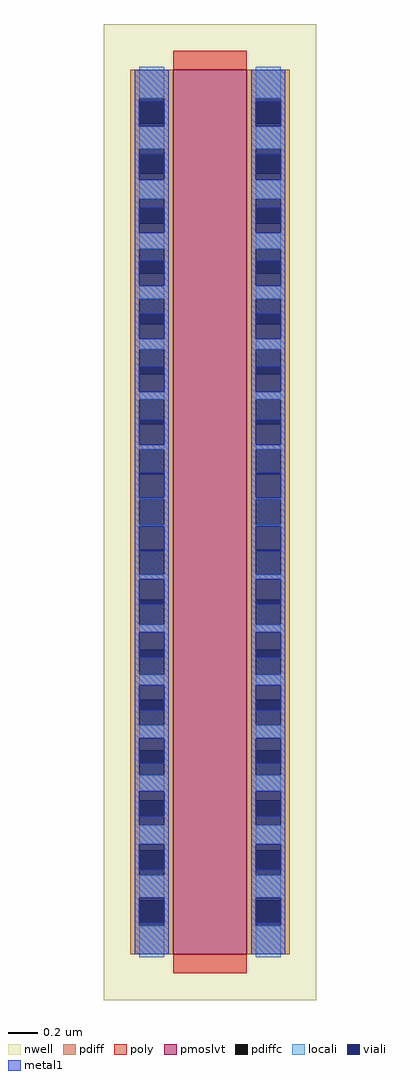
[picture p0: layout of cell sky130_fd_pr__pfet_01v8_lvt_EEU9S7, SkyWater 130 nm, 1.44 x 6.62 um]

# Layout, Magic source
magic
tech sky130A
magscale 1 2
<< nwell >>
rect -144 -662 144 662
<< pmoslvt >>
rect -50 -600 50 600
<< pdiff >>
rect -108 561 -50 600
rect -108 527 -96 561
rect -62 527 -50 561
rect -108 493 -50 527
rect -108 459 -96 493
rect -62 459 -50 493
rect -108 425 -50 459
rect -108 391 -96 425
rect -62 391 -50 425
rect -108 357 -50 391
rect -108 323 -96 357
rect -62 323 -50 357
rect -108 289 -50 323
rect -108 255 -96 289
rect -62 255 -50 289
rect -108 221 -50 255
rect -108 187 -96 221
rect -62 187 -50 221
rect -108 153 -50 187
rect -108 119 -96 153
rect -62 119 -50 153
rect -108 85 -50 119
rect -108 51 -96 85
rect -62 51 -50 85
rect -108 17 -50 51
rect -108 -17 -96 17
rect -62 -17 -50 17
rect -108 -51 -50 -17
rect -108 -85 -96 -51
rect -62 -85 -50 -51
rect -108 -119 -50 -85
rect -108 -153 -96 -119
rect -62 -153 -50 -119
rect -108 -187 -50 -153
rect -108 -221 -96 -187
rect -62 -221 -50 -187
rect -108 -255 -50 -221
rect -108 -289 -96 -255
rect -62 -289 -50 -255
rect -108 -323 -50 -289
rect -108 -357 -96 -323
rect -62 -357 -50 -323
rect -108 -391 -50 -357
rect -108 -425 -96 -391
rect -62 -425 -50 -391
rect -108 -459 -50 -425
rect -108 -493 -96 -459
rect -62 -493 -50 -459
rect -108 -527 -50 -493
rect -108 -561 -96 -527
rect -62 -561 -50 -527
rect -108 -600 -50 -561
rect 50 561 108 600
rect 50 527 62 561
rect 96 527 108 561
rect 50 493 108 527
rect 50 459 62 493
rect 96 459 108 493
rect 50 425 108 459
rect 50 391 62 425
rect 96 391 108 425
rect 50 357 108 391
rect 50 323 62 357
rect 96 323 108 357
rect 50 289 108 323
rect 50 255 62 289
rect 96 255 108 289
rect 50 221 108 255
rect 50 187 62 221
rect 96 187 108 221
rect 50 153 108 187
rect 50 119 62 153
rect 96 119 108 153
rect 50 85 108 119
rect 50 51 62 85
rect 96 51 108 85
rect 50 17 108 51
rect 50 -17 62 17
rect 96 -17 108 17
rect 50 -51 108 -17
rect 50 -85 62 -51
rect 96 -85 108 -51
rect 50 -119 108 -85
rect 50 -153 62 -119
rect 96 -153 108 -119
rect 50 -187 108 -153
rect 50 -221 62 -187
rect 96 -221 108 -187
rect 50 -255 108 -221
rect 50 -289 62 -255
rect 96 -289 108 -255
rect 50 -323 108 -289
rect 50 -357 62 -323
rect 96 -357 108 -323
rect 50 -391 108 -357
rect 50 -425 62 -391
rect 96 -425 108 -391
rect 50 -459 108 -425
rect 50 -493 62 -459
rect 96 -493 108 -459
rect 50 -527 108 -493
rect 50 -561 62 -527
rect 96 -561 108 -527
rect 50 -600 108 -561
<< pdiffc >>
rect -96 527 -62 561
rect -96 459 -62 493
rect -96 391 -62 425
rect -96 323 -62 357
rect -96 255 -62 289
rect -96 187 -62 221
rect -96 119 -62 153
rect -96 51 -62 85
rect -96 -17 -62 17
rect -96 -85 -62 -51
rect -96 -153 -62 -119
rect -96 -221 -62 -187
rect -96 -289 -62 -255
rect -96 -357 -62 -323
rect -96 -425 -62 -391
rect -96 -493 -62 -459
rect -96 -561 -62 -527
rect 62 527 96 561
rect 62 459 96 493
rect 62 391 96 425
rect 62 323 96 357
rect 62 255 96 289
rect 62 187 96 221
rect 62 119 96 153
rect 62 51 96 85
rect 62 -17 96 17
rect 62 -85 96 -51
rect 62 -153 96 -119
rect 62 -221 96 -187
rect 62 -289 96 -255
rect 62 -357 96 -323
rect 62 -425 96 -391
rect 62 -493 96 -459
rect 62 -561 96 -527
<< poly >>
rect -50 600 50 626
rect -50 -626 50 -600
<< locali >>
rect -96 561 -62 604
rect -96 493 -62 523
rect -96 425 -62 451
rect -96 357 -62 379
rect -96 289 -62 307
rect -96 221 -62 235
rect -96 153 -62 163
rect -96 85 -62 91
rect -96 17 -62 19
rect -96 -19 -62 -17
rect -96 -91 -62 -85
rect -96 -163 -62 -153
rect -96 -235 -62 -221
rect -96 -307 -62 -289
rect -96 -379 -62 -357
rect -96 -451 -62 -425
rect -96 -523 -62 -493
rect -96 -604 -62 -561
rect 62 561 96 604
rect 62 493 96 523
rect 62 425 96 451
rect 62 357 96 379
rect 62 289 96 307
rect 62 221 96 235
rect 62 153 96 163
rect 62 85 96 91
rect 62 17 96 19
rect 62 -19 96 -17
rect 62 -91 96 -85
rect 62 -163 96 -153
rect 62 -235 96 -221
rect 62 -307 96 -289
rect 62 -379 96 -357
rect 62 -451 96 -425
rect 62 -523 96 -493
rect 62 -604 96 -561
<< viali >>
rect -96 527 -62 557
rect -96 523 -62 527
rect -96 459 -62 485
rect -96 451 -62 459
rect -96 391 -62 413
rect -96 379 -62 391
rect -96 323 -62 341
rect -96 307 -62 323
rect -96 255 -62 269
rect -96 235 -62 255
rect -96 187 -62 197
rect -96 163 -62 187
rect -96 119 -62 125
rect -96 91 -62 119
rect -96 51 -62 53
rect -96 19 -62 51
rect -96 -51 -62 -19
rect -96 -53 -62 -51
rect -96 -119 -62 -91
rect -96 -125 -62 -119
rect -96 -187 -62 -163
rect -96 -197 -62 -187
rect -96 -255 -62 -235
rect -96 -269 -62 -255
rect -96 -323 -62 -307
rect -96 -341 -62 -323
rect -96 -391 -62 -379
rect -96 -413 -62 -391
rect -96 -459 -62 -451
rect -96 -485 -62 -459
rect -96 -527 -62 -523
rect -96 -557 -62 -527
rect 62 527 96 557
rect 62 523 96 527
rect 62 459 96 485
rect 62 451 96 459
rect 62 391 96 413
rect 62 379 96 391
rect 62 323 96 341
rect 62 307 96 323
rect 62 255 96 269
rect 62 235 96 255
rect 62 187 96 197
rect 62 163 96 187
rect 62 119 96 125
rect 62 91 96 119
rect 62 51 96 53
rect 62 19 96 51
rect 62 -51 96 -19
rect 62 -53 96 -51
rect 62 -119 96 -91
rect 62 -125 96 -119
rect 62 -187 96 -163
rect 62 -197 96 -187
rect 62 -255 96 -235
rect 62 -269 96 -255
rect 62 -323 96 -307
rect 62 -341 96 -323
rect 62 -391 96 -379
rect 62 -413 96 -391
rect 62 -459 96 -451
rect 62 -485 96 -459
rect 62 -527 96 -523
rect 62 -557 96 -527
<< metal1 >>
rect -102 557 -56 600
rect -102 523 -96 557
rect -62 523 -56 557
rect -102 485 -56 523
rect -102 451 -96 485
rect -62 451 -56 485
rect -102 413 -56 451
rect -102 379 -96 413
rect -62 379 -56 413
rect -102 341 -56 379
rect -102 307 -96 341
rect -62 307 -56 341
rect -102 269 -56 307
rect -102 235 -96 269
rect -62 235 -56 269
rect -102 197 -56 235
rect -102 163 -96 197
rect -62 163 -56 197
rect -102 125 -56 163
rect -102 91 -96 125
rect -62 91 -56 125
rect -102 53 -56 91
rect -102 19 -96 53
rect -62 19 -56 53
rect -102 -19 -56 19
rect -102 -53 -96 -19
rect -62 -53 -56 -19
rect -102 -91 -56 -53
rect -102 -125 -96 -91
rect -62 -125 -56 -91
rect -102 -163 -56 -125
rect -102 -197 -96 -163
rect -62 -197 -56 -163
rect -102 -235 -56 -197
rect -102 -269 -96 -235
rect -62 -269 -56 -235
rect -102 -307 -56 -269
rect -102 -341 -96 -307
rect -62 -341 -56 -307
rect -102 -379 -56 -341
rect -102 -413 -96 -379
rect -62 -413 -56 -379
rect -102 -451 -56 -413
rect -102 -485 -96 -451
rect -62 -485 -56 -451
rect -102 -523 -56 -485
rect -102 -557 -96 -523
rect -62 -557 -56 -523
rect -102 -600 -56 -557
rect 56 557 102 600
rect 56 523 62 557
rect 96 523 102 557
rect 56 485 102 523
rect 56 451 62 485
rect 96 451 102 485
rect 56 413 102 451
rect 56 379 62 413
rect 96 379 102 413
rect 56 341 102 379
rect 56 307 62 341
rect 96 307 102 341
rect 56 269 102 307
rect 56 235 62 269
rect 96 235 102 269
rect 56 197 102 235
rect 56 163 62 197
rect 96 163 102 197
rect 56 125 102 163
rect 56 91 62 125
rect 96 91 102 125
rect 56 53 102 91
rect 56 19 62 53
rect 96 19 102 53
rect 56 -19 102 19
rect 56 -53 62 -19
rect 96 -53 102 -19
rect 56 -91 102 -53
rect 56 -125 62 -91
rect 96 -125 102 -91
rect 56 -163 102 -125
rect 56 -197 62 -163
rect 96 -197 102 -163
rect 56 -235 102 -197
rect 56 -269 62 -235
rect 96 -269 102 -235
rect 56 -307 102 -269
rect 56 -341 62 -307
rect 96 -341 102 -307
rect 56 -379 102 -341
rect 56 -413 62 -379
rect 96 -413 102 -379
rect 56 -451 102 -413
rect 56 -485 62 -451
rect 96 -485 102 -451
rect 56 -523 102 -485
rect 56 -557 62 -523
rect 96 -557 102 -523
rect 56 -600 102 -557
<< end >>
